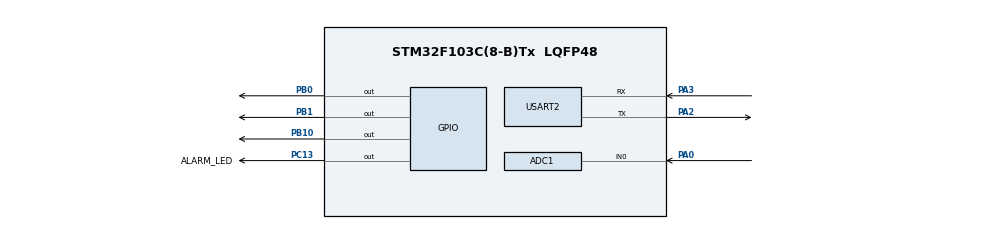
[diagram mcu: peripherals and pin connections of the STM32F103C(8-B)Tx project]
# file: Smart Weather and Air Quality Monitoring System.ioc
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ADC1.Channel-0\#ChannelRegularConversion=ADC_CHANNEL_0
ADC1.NbrOfConversionFlag=1
ADC1.Rank-0\#ChannelRegularConversion=1
ADC1.SamplingTime-0\#ChannelRegularConversion=ADC_SAMPLETIME_239CYCLES_5
ADC1.master=1
Mcu.Family=STM32F1
Mcu.Name=STM32F103C(8-B)Tx
Mcu.Package=LQFP48
NVIC.PriorityGroup=NVIC_PRIORITYGROUP_4
PA0-WKUP.Signal=ADCx_IN0
PA13.Mode=Serial_Wire
PA13.Signal=SYS_JTMS-SWDIO
PA14.Mode=Serial_Wire
PA14.Signal=SYS_JTCK-SWCLK
PA2.Mode=Asynchronous
PA2.Signal=USART2_TX
PA3.Mode=Asynchronous
PA3.Signal=USART2_RX
PB0.Signal=GPIO_Output
PB1.Signal=GPIO_Output
PB10.Signal=GPIO_Output
PC13-TAMPER-RTC.GPIO_Label=ALARM_LED
PC13-TAMPER-RTC.Signal=GPIO_Output
ProjectManager.HeapSize=0x200
ProjectManager.StackSize=0x400
ProjectManager.TargetToolchain=MDK-ARM V5.32
RCC.APB1Freq_Value=8000000
RCC.APB2Freq_Value=8000000
SH.ADCx_IN0.0=ADC1_IN0,IN0
USART2.VirtualMode=VM_ASYNC
VP_TIM2_VS_ClockSourceINT.Mode=Internal
board=custom

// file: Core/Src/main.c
/* USER CODE BEGIN Header */
/**
  ******************************************************************************
  * @file           : main.c
  * @brief          : Main program body
  ******************************************************************************
  * @attention
  *
  * Copyright (c) 2026 STMicroelectronics.
  * All rights reserved.
  *
  * This software is licensed under terms that can be found in the LICENSE file
  * in the root directory of this software component.
  * If no LICENSE file comes with this software, it is provided AS-IS.
  *
  ******************************************************************************
  */
/* USER CODE END Header */
#include "main.h"

/* USER CODE BEGIN Includes */
#include "mock_sensor.h"
#include "aqi.h"
#include "alarm.h"
#include "logger.h"
#include "scheduler.h"
#include "filter.h"
#include  "predictor.h"
#include "cli.h"
/* USER CODE END Includes */

ADC_HandleTypeDef hadc1;

TIM_HandleTypeDef htim2;

UART_HandleTypeDef huart2;

void SystemClock_Config(void);
static void MX_GPIO_Init(void);
static void MX_TIM2_Init(void);
static void MX_USART2_UART_Init(void);
static void MX_ADC1_Init(void);

int main(void)
{

  /* MCU Configuration--------------------------------------------------------*/

  /* Reset of all peripherals, Initializes the Flash interface and the Systick. */
  HAL_Init();

  /* Configure the system clock */
  SystemClock_Config();

  /* Initialize all configured peripherals */
  MX_GPIO_Init();
  MX_TIM2_Init();
  MX_USART2_UART_Init();
  MX_ADC1_Init();
  /* USER CODE BEGIN 2 */
	MockSensor_Init();
	Filter_Init();
	AQI_Init();
	Alarm_Init();
	Logger_Init();
	Predictor_Init();
	Scheduler_Init();
  /* USER CODE END 2 */

  /* Infinite loop */

  while (1)
  {
		Scheduler_Run();
		/*!!!!!!!! inaro baraye test ADC neveshtam khastin badan pak konin !!!!!! */
    HAL_ADC_Start(&hadc1);
    HAL_ADC_PollForConversion(&hadc1, 100);

    uint16_t adc_value = HAL_ADC_GetValue(&hadc1);

    HAL_ADC_Stop(&hadc1);

    if(adc_value < 1365)
    {
        // GOOD
        HAL_GPIO_WritePin(GPIOB, GPIO_PIN_0, GPIO_PIN_SET);
        HAL_GPIO_WritePin(GPIOB, GPIO_PIN_1, GPIO_PIN_RESET);
        HAL_GPIO_WritePin(GPIOB, GPIO_PIN_10, GPIO_PIN_RESET);
    }
    else if(adc_value < 2730)
    {
        // MODERATE
        HAL_GPIO_WritePin(GPIOB, GPIO_PIN_0, GPIO_PIN_RESET);
        HAL_GPIO_WritePin(GPIOB, GPIO_PIN_1, GPIO_PIN_SET);
        HAL_GPIO_WritePin(GPIOB, GPIO_PIN_10, GPIO_PIN_RESET);
    }
    else
    {
        // DANGEROUS
        HAL_GPIO_WritePin(GPIOB, GPIO_PIN_0, GPIO_PIN_RESET);
        HAL_GPIO_WritePin(GPIOB, GPIO_PIN_1, GPIO_PIN_RESET);
        HAL_GPIO_WritePin(GPIOB, GPIO_PIN_10, GPIO_PIN_SET);
    }

    HAL_Delay(200);
    /* !!!! Taaaa inja !!!!!!!		*/

  }
}

void SystemClock_Config(void)
{
  RCC_OscInitTypeDef RCC_OscInitStruct = {0};
  RCC_ClkInitTypeDef RCC_ClkInitStruct = {0};
  RCC_PeriphCLKInitTypeDef PeriphClkInit = {0};

  /** Initializes the RCC Oscillators according to the specified parameters
  * in the RCC_OscInitTypeDef structure.
  */
  RCC_OscInitStruct.OscillatorType = RCC_OSCILLATORTYPE_HSI;
  RCC_OscInitStruct.HSIState = RCC_HSI_ON;
  RCC_OscInitStruct.HSICalibrationValue = RCC_HSICALIBRATION_DEFAULT;
  RCC_OscInitStruct.PLL.PLLState = RCC_PLL_NONE;
  if (HAL_RCC_OscConfig(&RCC_OscInitStruct) != HAL_OK)
  {
    Error_Handler();
  }

  /** Initializes the CPU, AHB and APB buses clocks
  */
  RCC_ClkInitStruct.ClockType = RCC_CLOCKTYPE_HCLK|RCC_CLOCKTYPE_SYSCLK
                              |RCC_CLOCKTYPE_PCLK1|RCC_CLOCKTYPE_PCLK2;
  RCC_ClkInitStruct.SYSCLKSource = RCC_SYSCLKSOURCE_HSI;
  RCC_ClkInitStruct.AHBCLKDivider = RCC_SYSCLK_DIV1;
  RCC_ClkInitStruct.APB1CLKDivider = RCC_HCLK_DIV1;
  RCC_ClkInitStruct.APB2CLKDivider = RCC_HCLK_DIV1;

  if (HAL_RCC_ClockConfig(&RCC_ClkInitStruct, FLASH_LATENCY_0) != HAL_OK)
  {
    Error_Handler();
  }
  PeriphClkInit.PeriphClockSelection = RCC_PERIPHCLK_ADC;
  PeriphClkInit.AdcClockSelection = RCC_ADCPCLK2_DIV2;
  if (HAL_RCCEx_PeriphCLKConfig(&PeriphClkInit) != HAL_OK)
  {
    Error_Handler();
  }
}

static void MX_ADC1_Init(void)
{

  ADC_ChannelConfTypeDef sConfig = {0};

  /** Common config
  */
  hadc1.Instance = ADC1;
  hadc1.Init.ScanConvMode = ADC_SCAN_DISABLE;
  hadc1.Init.ContinuousConvMode = DISABLE;
  hadc1.Init.DiscontinuousConvMode = DISABLE;
  hadc1.Init.ExternalTrigConv = ADC_SOFTWARE_START;
  hadc1.Init.DataAlign = ADC_DATAALIGN_RIGHT;
  hadc1.Init.NbrOfConversion = 1;
  if (HAL_ADC_Init(&hadc1) != HAL_OK)
  {
    Error_Handler();
  }

  /** Configure Regular Channel
  */
  sConfig.Channel = ADC_CHANNEL_0;
  sConfig.Rank = ADC_REGULAR_RANK_1;
  sConfig.SamplingTime = ADC_SAMPLETIME_239CYCLES_5;
  if (HAL_ADC_ConfigChannel(&hadc1, &sConfig) != HAL_OK)
  {
    Error_Handler();
  }

}

static void MX_TIM2_Init(void)
{

  TIM_ClockConfigTypeDef sClockSourceConfig = {0};
  TIM_MasterConfigTypeDef sMasterConfig = {0};

  htim2.Instance = TIM2;
  htim2.Init.Prescaler = 0;
  htim2.Init.CounterMode = TIM_COUNTERMODE_UP;
  htim2.Init.Period = 65535;
  htim2.Init.ClockDivision = TIM_CLOCKDIVISION_DIV1;
  htim2.Init.AutoReloadPreload = TIM_AUTORELOAD_PRELOAD_DISABLE;
  if (HAL_TIM_Base_Init(&htim2) != HAL_OK)
  {
    Error_Handler();
  }
  sClockSourceConfig.ClockSource = TIM_CLOCKSOURCE_INTERNAL;
  if (HAL_TIM_ConfigClockSource(&htim2, &sClockSourceConfig) != HAL_OK)
  {
    Error_Handler();
  }
  sMasterConfig.MasterOutputTrigger = TIM_TRGO_RESET;
  sMasterConfig.MasterSlaveMode = TIM_MASTERSLAVEMODE_DISABLE;
  if (HAL_TIMEx_MasterConfigSynchronization(&htim2, &sMasterConfig) != HAL_OK)
  {
    Error_Handler();
  }

}

static void MX_USART2_UART_Init(void)
{

  huart2.Instance = USART2;
  huart2.Init.BaudRate = 115200;
  huart2.Init.WordLength = UART_WORDLENGTH_8B;
  huart2.Init.StopBits = UART_STOPBITS_1;
  huart2.Init.Parity = UART_PARITY_NONE;
  huart2.Init.Mode = UART_MODE_TX_RX;
  huart2.Init.HwFlowCtl = UART_HWCONTROL_NONE;
  huart2.Init.OverSampling = UART_OVERSAMPLING_16;
  if (HAL_UART_Init(&huart2) != HAL_OK)
  {
    Error_Handler();
  }

}

static void MX_GPIO_Init(void)
{
  GPIO_InitTypeDef GPIO_InitStruct = {0};

  /* GPIO Ports Clock Enable */
  __HAL_RCC_GPIOC_CLK_ENABLE();
  __HAL_RCC_GPIOA_CLK_ENABLE();
  __HAL_RCC_GPIOB_CLK_ENABLE();

  /*Configure GPIO pin Output Level */
  HAL_GPIO_WritePin(ALARM_LED_GPIO_Port, ALARM_LED_Pin, GPIO_PIN_RESET);

  /*Configure GPIO pin Output Level */
  HAL_GPIO_WritePin(GPIOB, GPIO_PIN_0|GPIO_PIN_1|GPIO_PIN_10, GPIO_PIN_RESET);

  /*Configure GPIO pin : ALARM_LED_Pin */
  GPIO_InitStruct.Pin = ALARM_LED_Pin;
  GPIO_InitStruct.Mode = GPIO_MODE_OUTPUT_PP;
  GPIO_InitStruct.Pull = GPIO_NOPULL;
  GPIO_InitStruct.Speed = GPIO_SPEED_FREQ_LOW;
  HAL_GPIO_Init(ALARM_LED_GPIO_Port, &GPIO_InitStruct);

  /*Configure GPIO pins : PB0 PB1 PB10 */
  GPIO_InitStruct.Pin = GPIO_PIN_0|GPIO_PIN_1|GPIO_PIN_10;
  GPIO_InitStruct.Mode = GPIO_MODE_OUTPUT_PP;
  GPIO_InitStruct.Pull = GPIO_NOPULL;
  GPIO_InitStruct.Speed = GPIO_SPEED_FREQ_LOW;
  HAL_GPIO_Init(GPIOB, &GPIO_InitStruct);

}

/* USER CODE BEGIN 4 */
void HAL_UART_RxCpltCallback(UART_HandleTypeDef *huart)
{
    if(huart->Instance == USART2)
    {
        CLI_RxCallback();
    }
}

/* USER CODE END 4 */

void Error_Handler(void)
{
  __disable_irq();
  while (1)
  {
  }
}
